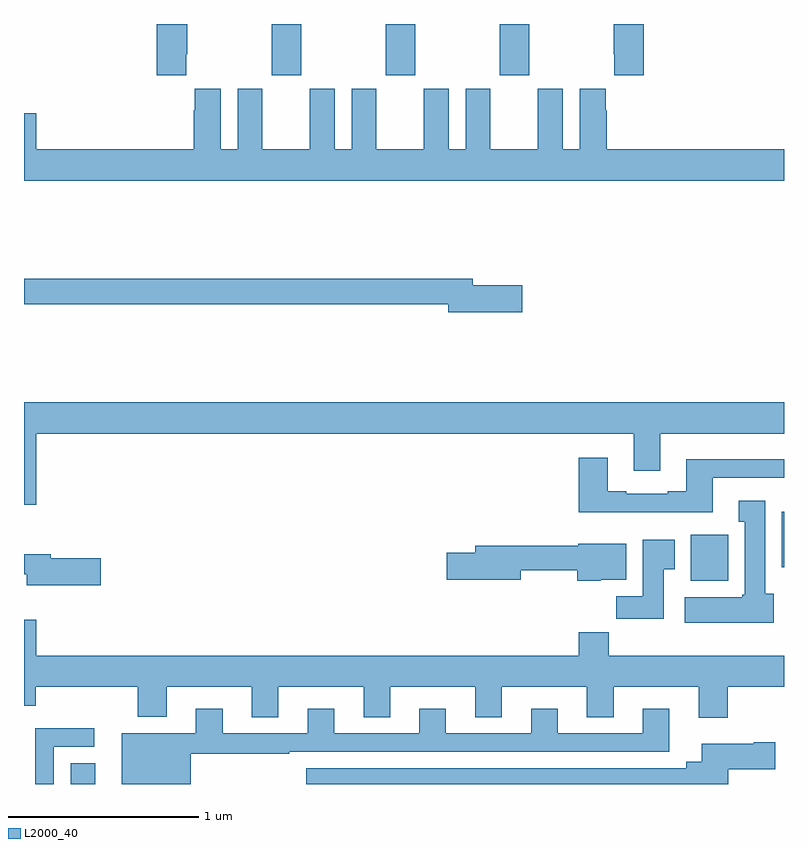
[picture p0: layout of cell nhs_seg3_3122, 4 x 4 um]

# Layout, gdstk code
import gdstk
lib = gdstk.Library(unit=1e-6, precision=1e-09)
def R(c, l, rs):  # rectangles x0, y0, x1, y1
    for r in rs: c.add(gdstk.rectangle(r[:2], r[2:], *l))
def A(c, l, x, y, w, h, nx, ny, dx, dy):  # array of equal rectangles
    R(c, l, [(x+i*dx, y+j*dy, x+i*dx+w, y+j*dy+h) for i in range(nx) for j in range(ny)])
def P(c, l, *ps):  # polygons
    for p in ps: c.add(gdstk.Polygon(p, *l))
L2000_40 = (2000, 40)

nhs_seg3_3122 = lib.new_cell('nhs_seg3_3122')
A(nhs_seg3_3122, L2000_40, 274.303, 708.129, 0.155, 0.271, 3, 1, 0.6, 0)
R(nhs_seg3_3122, L2000_40, [(273.245,704.4,273.376,704.51), (276.509,705.47,276.706,705.712), (276.989,705.54,277,705.832)])
P(nhs_seg3_3122, L2000_40, [(273.853,708.241),(273.858,708.241),(273.858,708.4),(273.698,708.4),(273.698,708.129),(273.853,708.129)],
  [(276.263,708.4),(276.103,708.4),(276.103,708.241),(276.107,708.241),(276.107,708.129),(276.263,708.129)],
  [(275.324,708.058),(275.324,707.74),(275.236,707.74),(275.236,708.058),(275.105,708.058),(275.105,707.74),(274.855,707.74),(274.855,708.058),(274.724,708.058),(274.724,707.74),(274.636,707.74),(274.636,708.058),(274.505,708.058),(274.505,707.74),(274.255,707.74),(274.255,708.058),(274.124,708.058),(274.124,707.74),(274.036,707.74),(274.036,708.058),(273.899,708.058),(273.899,707.945),(273.893,707.945),(273.893,707.74),(273.064,707.74),(273.064,707.929),(273,707.929),(273,707.576),(277,707.576),(277,707.74),(276.068,707.74),(276.068,707.945),(276.061,707.945),(276.061,708.058),(275.924,708.058),(275.924,707.74),(275.836,707.74),(275.836,708.058),(275.705,708.058),(275.705,707.74),(275.455,707.74),(275.455,708.058)],
  [(275.623,707.024),(275.362,707.024),(275.362,707.06),(273,707.06),(273,706.924),(275.234,706.924),(275.234,706.882),(275.623,706.882)],
  [(273.064,706.244),(276.209,706.244),(276.209,706.05),(276.349,706.05),(276.349,706.244),(277,706.244),(277,706.408),(273,706.408),(273,705.87),(273.064,705.87)],
  [(276.625,706.011),(277,706.011),(277,706.108),(276.485,706.108),(276.485,705.94),(276.389,705.94),(276.389,705.927),(276.169,705.927),(276.169,705.94),(276.073,705.94),(276.073,706.117),(275.921,706.117),(275.921,705.83),(276.625,705.83)],
  [(276.946,705.402),(276.901,705.402),(276.901,705.892),(276.761,705.892),(276.761,705.779),(276.794,705.779),(276.794,705.396),(276.781,705.396),(276.781,705.382),(276.477,705.382),(276.477,705.248),(276.946,705.248)],
  [(276.367,705.529),(276.424,705.529),(276.424,705.685),(276.257,705.685),(276.257,705.388),(276.118,705.388),(276.118,705.27),(276.367,705.27)],
  [(276.036,705.476),(276.169,705.476),(276.169,705.664),(275.918,705.664),(275.918,705.653),(275.375,705.653),(275.375,705.617),(275.226,705.617),(275.226,705.475),(275.614,705.475),(275.614,705.525),(275.911,705.525),(275.911,705.47),(276.036,705.47)],
  [(273.403,705.587),(273.142,705.587),(273.142,705.608),(273,705.608),(273,705.505),(273.014,705.505),(273.014,705.445),(273.403,705.445)],
  [(276.077,705.2),(275.921,705.2),(275.921,705.076),(273.064,705.076),(273.064,705.265),(273,705.265),(273,704.813),(273.062,704.813),(273.062,704.912),(273.599,704.912),(273.599,704.753),(273.751,704.753),(273.751,704.912),(274.199,704.912),(274.199,704.752),(274.339,704.752),(274.339,704.912),(274.787,704.912),(274.787,704.752),(274.927,704.752),(274.927,704.912),(275.375,704.912),(275.375,704.752),(275.515,704.752),(275.515,704.912),(275.963,704.912),(275.963,704.752),(276.103,704.752),(276.103,704.912),(276.551,704.912),(276.551,704.748),(276.704,704.748),(276.704,704.912),(277,704.912),(277,705.076),(276.077,705.076)],
  [(273.877,704.559),(274.397,704.559),(274.397,704.571),(276.397,704.571),(276.397,704.797),(276.257,704.797),(276.257,704.667),(275.809,704.667),(275.809,704.797),(275.669,704.797),(275.669,704.667),(275.221,704.667),(275.221,704.797),(275.081,704.797),(275.081,704.667),(274.633,704.667),(274.633,704.797),(274.493,704.797),(274.493,704.667),(274.045,704.667),(274.045,704.797),(273.905,704.797),(273.905,704.668),(273.515,704.668),(273.515,704.4),(273.877,704.4)],
  [(273.156,704.595),(273.37,704.595),(273.37,704.694),(273.06,704.694),(273.06,704.4),(273.156,704.4)],
  [(276.706,704.477),(276.955,704.477),(276.955,704.619),(276.842,704.619),(276.842,704.611),(276.566,704.611),(276.566,704.518),(276.485,704.518),(276.485,704.482),(274.485,704.482),(274.485,704.4),(276.706,704.4)])

lib.write_gds('nhs_seg3_3122.gds')
